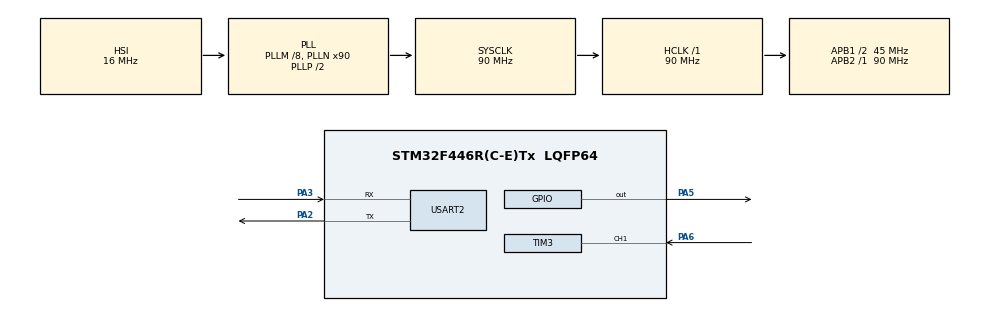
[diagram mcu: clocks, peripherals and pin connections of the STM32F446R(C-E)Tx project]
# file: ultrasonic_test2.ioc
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Mcu.Family=STM32F4
Mcu.Name=STM32F446R(C-E)Tx
Mcu.Package=LQFP64
NVIC.PriorityGroup=NVIC_PRIORITYGROUP_4
NVIC.TIM3_IRQn=true\:0\:0\:false\:false\:true\:true\:true\:true
NVIC.USART2_IRQn=true\:0\:0\:false\:false\:true\:true\:true\:true
PA2.Mode=Asynchronous
PA2.Signal=USART2_TX
PA3.Mode=Asynchronous
PA3.Signal=USART2_RX
PA5.Signal=GPIO_Output
PA6.Signal=S_TIM3_CH1
ProjectManager.HeapSize=0x200
ProjectManager.StackSize=0x400
ProjectManager.TargetToolchain=STM32CubeIDE
RCC.AHBFreq_Value=90000000
RCC.APB1CLKDivider=RCC_HCLK_DIV2
RCC.APB1Freq_Value=45000000
RCC.APB1TimFreq_Value=90000000
RCC.APB2Freq_Value=90000000
RCC.APB2TimFreq_Value=90000000
RCC.CortexFreq_Value=90000000
RCC.HCLKFreq_Value=90000000
RCC.PLLM=8
RCC.PLLN=90
RCC.SYSCLKFreq_VALUE=90000000
RCC.SYSCLKSource=RCC_SYSCLKSOURCE_PLLCLK
RCC.USBFreq_Value=90000000
RCC.VCOOutputFreq_Value=180000000
SH.S_TIM3_CH1.0=TIM3_CH1,Input_Capture1_from_TI1
TIM3.Channel-Input_Capture1_from_TI1=TIM_CHANNEL_1
TIM3.Period=0xffff-1
TIM3.Prescaler=90-1
USART2.VirtualMode=VM_ASYNC
VP_TIM3_VS_ClockSourceINT.Mode=Internal
board=custom

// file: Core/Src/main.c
/* USER CODE BEGIN Header */
/**
  ******************************************************************************
  * @file           : main.c
  * @brief          : Main program body
  ******************************************************************************
  * @attention
  *
  * Copyright (c) 2022 STMicroelectronics.
  * All rights reserved.
  *
  * This software is licensed under terms that can be found in the LICENSE file
  * in the root directory of this software component.
  * If no LICENSE file comes with this software, it is provided AS-IS.
  *
  ******************************************************************************
  */
/* USER CODE END Header */
#include "main.h"

/* USER CODE BEGIN PD */
#define TRIG_PIN GPIO_PIN_5
#define TRIG_PORT GPIOA
/* USER CODE END PD */

TIM_HandleTypeDef htim3;

UART_HandleTypeDef huart2;

/* USER CODE BEGIN PV */
uint32_t IC_Val1 = 0;
uint32_t IC_Val2 = 0;
uint32_t Difference = 0;
uint8_t Is_First_Captured = 0;  // is the first value captured ?
uint8_t Distance  = 0;
/* USER CODE END PV */

void SystemClock_Config(void);
static void MX_GPIO_Init(void);
static void MX_TIM3_Init(void);
static void MX_USART2_UART_Init(void);
/* USER CODE BEGIN PFP */
void delay (uint16_t time)
{
	__HAL_TIM_SET_COUNTER(&htim3, 0);
	while (__HAL_TIM_GET_COUNTER (&htim3) < time);
}

void HAL_TIM_IC_CaptureCallback(TIM_HandleTypeDef *htim)
{
	if (htim->Channel == HAL_TIM_ACTIVE_CHANNEL_1)  // if the interrupt source is channel1
	{
		if (Is_First_Captured==0) // if the first value is not captured
		{
			IC_Val1 = HAL_TIM_ReadCapturedValue(htim, TIM_CHANNEL_1); // read the first value
			Is_First_Captured = 1;  // set the first captured as true
			// Now change the polarity to falling edge
			__HAL_TIM_SET_CAPTUREPOLARITY(htim, TIM_CHANNEL_1, TIM_INPUTCHANNELPOLARITY_FALLING);
		}

		else if (Is_First_Captured==1)   // if the first is already captured
		{
			IC_Val2 = HAL_TIM_ReadCapturedValue(htim, TIM_CHANNEL_1);  // read second value
			__HAL_TIM_SET_COUNTER(htim, 0);  // reset the counter

			if (IC_Val2 > IC_Val1)
			{
				Difference = IC_Val2-IC_Val1;
			}

			else if (IC_Val1 > IC_Val2)
			{
				Difference = (0xffff - IC_Val1) + IC_Val2;
			}

			Distance = Difference * .034/2;
			Is_First_Captured = 0; // set it back to false

			// set polarity to rising edge
			__HAL_TIM_SET_CAPTUREPOLARITY(htim, TIM_CHANNEL_1, TIM_INPUTCHANNELPOLARITY_RISING);
			__HAL_TIM_DISABLE_IT(&htim3, TIM_IT_CC1);
		}
	}
}

void HCSR04_Read (void)
{
	HAL_GPIO_WritePin(TRIG_PORT, TRIG_PIN, GPIO_PIN_SET);  // pull the TRIG pin HIGH
	delay(10);  // wait for 10 us
	HAL_GPIO_WritePin(TRIG_PORT, TRIG_PIN, GPIO_PIN_RESET);  // pull the TRIG pin low

	__HAL_TIM_ENABLE_IT(&htim3, TIM_IT_CC1);
}

/* USER CODE END PFP */

int main(void)
{

  /* MCU Configuration--------------------------------------------------------*/

  /* Reset of all peripherals, Initializes the Flash interface and the Systick. */
  HAL_Init();

  /* Configure the system clock */
  SystemClock_Config();

  /* Initialize all configured peripherals */
  MX_GPIO_Init();
  MX_TIM3_Init();
  MX_USART2_UART_Init();
  /* USER CODE BEGIN 2 */
  HAL_TIM_IC_Start_IT(&htim3, TIM_CHANNEL_1);
  uint8_t str[] = "UltraSonic Sensor\n\r";
  char uart_buf[30];
  uint32_t data = 0;
  HAL_UART_Transmit_IT(&huart2, str, sizeof(str));
  HAL_Delay(1000);
  /* USER CODE END 2 */

  /* Infinite loop */
  /* USER CODE BEGIN WHILE */
  while (1)
  {
	  HCSR04_Read();
	  data = Distance;
	  memset(uart_buf,0,30);
	  sprintf(uart_buf, "data : %d\n\r", data);
	  HAL_UART_Transmit_IT(&huart2, uart_buf, sizeof(uart_buf));
//	  HAL_UART_Transmit_IT ( &huart2, Distance, sizeof(Distance) );
//	  printf("%d cm\r\n",Distance);
	  HAL_Delay(200);
    /* USER CODE END WHILE */

  }
}

void SystemClock_Config(void)
{
  RCC_OscInitTypeDef RCC_OscInitStruct = {0};
  RCC_ClkInitTypeDef RCC_ClkInitStruct = {0};

  /** Configure the main internal regulator output voltage
  */
  __HAL_RCC_PWR_CLK_ENABLE();
  __HAL_PWR_VOLTAGESCALING_CONFIG(PWR_REGULATOR_VOLTAGE_SCALE3);

  /** Initializes the RCC Oscillators according to the specified parameters
  * in the RCC_OscInitTypeDef structure.
  */
  RCC_OscInitStruct.OscillatorType = RCC_OSCILLATORTYPE_HSI;
  RCC_OscInitStruct.HSIState = RCC_HSI_ON;
  RCC_OscInitStruct.HSICalibrationValue = RCC_HSICALIBRATION_DEFAULT;
  RCC_OscInitStruct.PLL.PLLState = RCC_PLL_ON;
  RCC_OscInitStruct.PLL.PLLSource = RCC_PLLSOURCE_HSI;
  RCC_OscInitStruct.PLL.PLLM = 8;
  RCC_OscInitStruct.PLL.PLLN = 90;
  RCC_OscInitStruct.PLL.PLLP = RCC_PLLP_DIV2;
  RCC_OscInitStruct.PLL.PLLQ = 2;
  RCC_OscInitStruct.PLL.PLLR = 2;
  if (HAL_RCC_OscConfig(&RCC_OscInitStruct) != HAL_OK)
  {
    Error_Handler();
  }

  /** Initializes the CPU, AHB and APB buses clocks
  */
  RCC_ClkInitStruct.ClockType = RCC_CLOCKTYPE_HCLK|RCC_CLOCKTYPE_SYSCLK
                              |RCC_CLOCKTYPE_PCLK1|RCC_CLOCKTYPE_PCLK2;
  RCC_ClkInitStruct.SYSCLKSource = RCC_SYSCLKSOURCE_PLLCLK;
  RCC_ClkInitStruct.AHBCLKDivider = RCC_SYSCLK_DIV1;
  RCC_ClkInitStruct.APB1CLKDivider = RCC_HCLK_DIV2;
  RCC_ClkInitStruct.APB2CLKDivider = RCC_HCLK_DIV1;

  if (HAL_RCC_ClockConfig(&RCC_ClkInitStruct, FLASH_LATENCY_2) != HAL_OK)
  {
    Error_Handler();
  }
}

static void MX_TIM3_Init(void)
{

  TIM_ClockConfigTypeDef sClockSourceConfig = {0};
  TIM_MasterConfigTypeDef sMasterConfig = {0};
  TIM_IC_InitTypeDef sConfigIC = {0};

  htim3.Instance = TIM3;
  htim3.Init.Prescaler = 90-1;
  htim3.Init.CounterMode = TIM_COUNTERMODE_UP;
  htim3.Init.Period = 0xffff-1;
  htim3.Init.ClockDivision = TIM_CLOCKDIVISION_DIV1;
  htim3.Init.AutoReloadPreload = TIM_AUTORELOAD_PRELOAD_DISABLE;
  if (HAL_TIM_Base_Init(&htim3) != HAL_OK)
  {
    Error_Handler();
  }
  sClockSourceConfig.ClockSource = TIM_CLOCKSOURCE_INTERNAL;
  if (HAL_TIM_ConfigClockSource(&htim3, &sClockSourceConfig) != HAL_OK)
  {
    Error_Handler();
  }
  if (HAL_TIM_IC_Init(&htim3) != HAL_OK)
  {
    Error_Handler();
  }
  sMasterConfig.MasterOutputTrigger = TIM_TRGO_RESET;
  sMasterConfig.MasterSlaveMode = TIM_MASTERSLAVEMODE_DISABLE;
  if (HAL_TIMEx_MasterConfigSynchronization(&htim3, &sMasterConfig) != HAL_OK)
  {
    Error_Handler();
  }
  sConfigIC.ICPolarity = TIM_INPUTCHANNELPOLARITY_RISING;
  sConfigIC.ICSelection = TIM_ICSELECTION_DIRECTTI;
  sConfigIC.ICPrescaler = TIM_ICPSC_DIV1;
  sConfigIC.ICFilter = 0;
  if (HAL_TIM_IC_ConfigChannel(&htim3, &sConfigIC, TIM_CHANNEL_1) != HAL_OK)
  {
    Error_Handler();
  }

}

static void MX_USART2_UART_Init(void)
{

  huart2.Instance = USART2;
  huart2.Init.BaudRate = 115200;
  huart2.Init.WordLength = UART_WORDLENGTH_8B;
  huart2.Init.StopBits = UART_STOPBITS_1;
  huart2.Init.Parity = UART_PARITY_NONE;
  huart2.Init.Mode = UART_MODE_TX_RX;
  huart2.Init.HwFlowCtl = UART_HWCONTROL_NONE;
  huart2.Init.OverSampling = UART_OVERSAMPLING_16;
  if (HAL_UART_Init(&huart2) != HAL_OK)
  {
    Error_Handler();
  }

}

static void MX_GPIO_Init(void)
{
  GPIO_InitTypeDef GPIO_InitStruct = {0};

  /* GPIO Ports Clock Enable */
  __HAL_RCC_GPIOA_CLK_ENABLE();

  /*Configure GPIO pin Output Level */
  HAL_GPIO_WritePin(GPIOA, GPIO_PIN_5, GPIO_PIN_RESET);

  /*Configure GPIO pin : PA5 */
  GPIO_InitStruct.Pin = GPIO_PIN_5;
  GPIO_InitStruct.Mode = GPIO_MODE_OUTPUT_PP;
  GPIO_InitStruct.Pull = GPIO_NOPULL;
  GPIO_InitStruct.Speed = GPIO_SPEED_FREQ_LOW;
  HAL_GPIO_Init(GPIOA, &GPIO_InitStruct);

}

void Error_Handler(void)
{
  __disable_irq();
  while (1)
  {
  }
}
